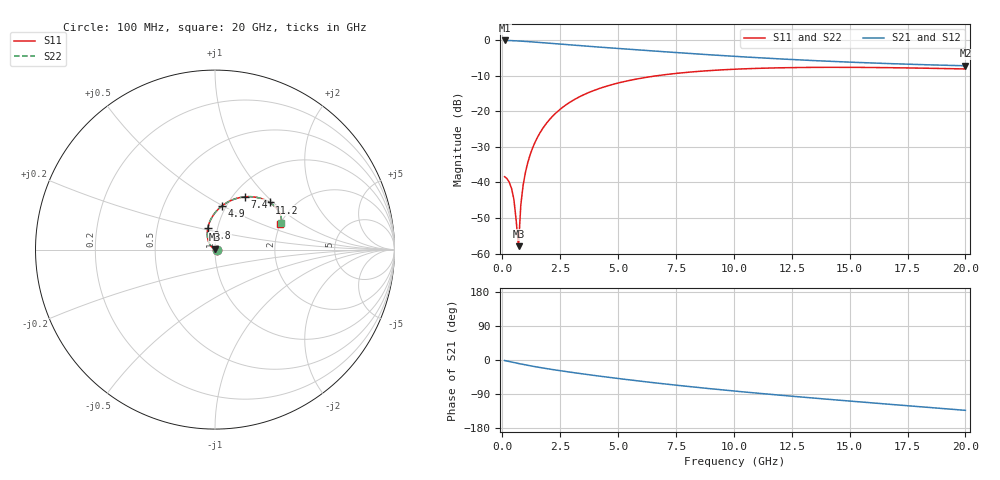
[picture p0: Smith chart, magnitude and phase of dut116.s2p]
! Touchstone file exported from HFSS 2024.1.0
!  File:  C:/UserFiles/LocalFiles/RDL_TSV_Batchsim/temp_RDL_TSV_116_1779423333.aedt
!  Generated:  12:28:29 PM May 22, 2026
!  Design:  RDL_TSV
!  Project:  temp_RDL_TSV_116_1779423333
!  Setup:  Setup1
!  Solution:  Sweep
! Variables:
!  dtsv = 12.89um
!  hbump = 3um
!  htsv = 64.36um
!  ldown = 116.14um
!  lrdl = 328.06um
!  p = 40
!  p1 = 57.22um
!  rhole = 10um
!  subl = 1660.66um
!  t = 450um
!  tdown = 2.22um
!  trdl = 4.83um
!  viad = 10um
!  wdown = 10.92um
!  wrdl = 13.8um
!  xbump = 18um
# GHz S MA R 50.000000
! Terminal data exported
! Port[1] = TM1_1_T1
! Port[2] = TM1_4_T1
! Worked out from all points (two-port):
!   200 points, 100 MHz to 20 GHz, reference 50 ohm
!   highest |S21| = -0.11 dB at 100 MHz (marker M1); lowest = -7.2 dB at 20 GHz (marker M2)
!   |S21| within 3 dB of the highest: start of sweep to 6.617 GHz
!   lowest |S11| = -57.9 dB at 700 MHz (marker M3), VSWR 1.00, Z = 50 + j0.123 ohm
!   |S11| at or under -10 dB: start of sweep to 6.71 GHz
!   |S22| runs from -57.9 to -7.7 dB; largest |S21 - S12| = 4.9e-13
!   S11 on the Smith chart (normalised r, x): 100 MHz: 1.02, -0.00; 2.8 GHz: 0.90, +0.22; 4.9 GHz: 0.95, +0.49; 7.4 GHz: 1.13, +0.75; 11.2 GHz: 1.51, +0.95; 20 GHz: 1.99, +0.68
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0.1  0.01202 -1.5  0.9873 -1.4  0.9873 -1.4  0.01202 -1.5
! Gamma 0 0 0 0
! Port Impedance 50 0 50 0
0.3  0.01005 -5.0  0.9844 -4.1  0.9844 -4.1  0.01005 -5.0
0.4  0.008206 -6.5  0.9819 -5.4  0.9819 -5.4  0.008203 -6.5
0.5  0.005799 -6.4  0.9789 -6.7  0.9789 -6.7  0.005795 -6.4
0.6  0.002911 0.9  0.9754 -8.0  0.9754 -8.0  0.002904 1.0
0.7  0.001269 104.4  0.9715 -9.2  0.9715 -9.2  0.001274 104.7
0.8  0.004822 142.4  0.9671 -10.5  0.9671 -10.5  0.004834 142.5
0.9  0.009142 145.3  0.9625 -11.7  0.9625 -11.7  0.009158 145.3
1  0.01387 144.6  0.9576 -12.9  0.9576 -12.9  0.01389 144.6
1.2  0.02431 140.9  0.9472 -15.2  0.9472 -15.2  0.02434 140.9
1.5  0.0418 134.2  0.9308 -18.5  0.9308 -18.5  0.04184 134.2
1.8  0.06069 127.5  0.9141 -21.6  0.9141 -21.6  0.06074 127.5
2.8  0.1261 108.6  0.8608 -30.9  0.8608 -30.9  0.1262 108.6
3.5  0.1694 98.0  0.8271 -36.9  0.8271 -36.9  0.1696 98.0
4.9  0.2443 81.4  0.766 -48.0  0.766 -48.0  0.2445 81.4
6.8  0.3191 64.9  0.6923 -61.7  0.6923 -61.7  0.3194 64.9
7.4  0.337 60.7  0.6711 -65.7  0.6711 -65.7  0.3372 60.7
10.1  0.3902 45.6  0.5887 -82.3  0.5887 -82.3  0.3905 45.6
11.2  0.4019 40.9  0.5612 -88.5  0.5612 -88.5  0.4022 40.9
13.4  0.4131 33.3  0.5157 -100.3  0.5157 -100.3  0.4134 33.3
16.7  0.4093 25.6  0.4669 -116.8  0.4669 -116.8  0.4096 25.6
20  0.3926 21.7  0.4351 -132.9  0.4351 -132.9  0.3929 21.8
